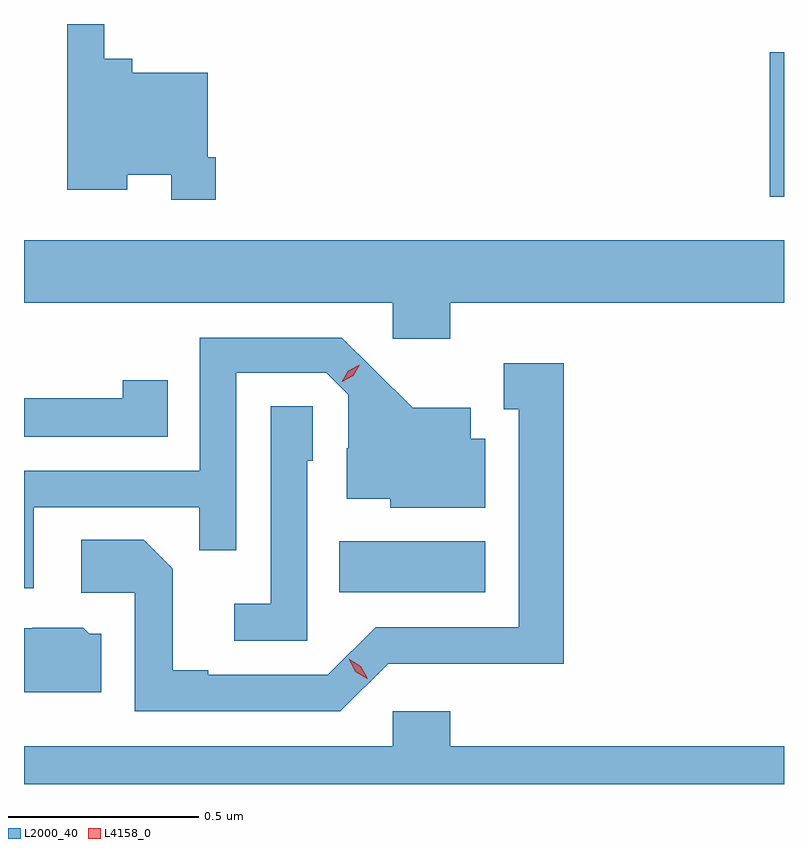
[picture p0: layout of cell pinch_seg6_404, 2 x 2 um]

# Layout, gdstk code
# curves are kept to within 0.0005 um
import gdstk
lib = gdstk.Library(unit=1e-6, precision=1e-09)
def R(c, l, rs):  # rectangles x0, y0, x1, y1
    for r in rs: c.add(gdstk.rectangle(r[:2], r[2:], *l))
def P(c, l, *ps):  # polygons
    for p in ps: c.add(gdstk.Polygon(p, *l))
L2000_40 = (2000, 40)
L4158_0 = (4158, 0)

pinch_seg6_404 = lib.new_cell('pinch_seg6_404')
R(pinch_seg6_404, L2000_40, [(671.5,934.586,671.884,934.72), (672.632,935.627,672.67,936.007)])
P(pinch_seg6_404, L2000_40, [(671.174,935.731),(671.154,935.731),(671.154,935.953),(670.955,935.953),(670.955,935.989),(670.881,935.989),(670.881,936.081),(670.784,936.081),(670.784,935.645),(670.942,935.645),(670.942,935.684),(671.058,935.684),(671.058,935.619),(671.174,935.619)],
  [(671.792,935.348),(672.67,935.348),(672.67,935.512),(670.67,935.512),(670.67,935.348),(671.64,935.348),(671.64,935.253),(671.792,935.253)],
  [(670.695,934.809),(671.131,934.809),(671.131,934.696),(671.229,934.696),(671.229,935.163),(671.466,935.163),(671.523,935.106),(671.523,934.964),(671.519,934.964),(671.519,934.832),(671.634,934.832),(671.634,934.808),(671.884,934.808),(671.884,934.99),(671.845,934.99),(671.845,935.071),(671.693,935.071),(671.506,935.256),(671.133,935.256),(671.133,934.905),(670.67,934.905),(670.67,934.596),(670.695,934.596)],
  [(671.628,934.398),(671.85,934.398),(671.85,934.397),(672.091,934.397),(672.091,935.188),(671.933,935.188),(671.933,935.067),(671.972,935.067),(671.972,934.494),(671.595,934.494),(671.469,934.368),(671.155,934.368),(671.155,934.381),(671.061,934.381),(671.061,934.648),(670.985,934.724),(670.821,934.724),(670.821,934.584),(670.962,934.584),(670.962,934.272),(671.502,934.272)],
  [(671.048,935.143),(670.93,935.143),(670.93,935.096),(670.67,935.096),(670.67,934.995),(671.048,934.995)],
  [(671.415,934.932),(671.43,934.932),(671.43,935.075),(671.319,935.075),(671.319,934.555),(671.223,934.555),(671.223,934.458),(671.415,934.458)],
  [(670.873,934.476),(670.842,934.476),(670.826,934.492),(670.692,934.492),(670.692,934.491),(670.67,934.491),(670.67,934.322),(670.873,934.322)],
  [(672.67,934.18),(671.792,934.18),(671.792,934.273),(671.64,934.273),(671.64,934.18),(670.67,934.18),(670.67,934.081),(672.67,934.081)])
P(pinch_seg6_404, L4158_0, [(671.573,934.358),(671.542,934.377),(671.524,934.41),(671.524,934.41),(671.524,934.41),(671.556,934.391),(671.574,934.358),(671.574,934.358)],
  [(671.506,935.139),(671.506,935.14),(671.523,935.169),(671.554,935.184),(671.554,935.184),(671.554,935.184),(671.537,935.155),(671.507,935.139)])

lib.write_gds('pinch_seg6_404.gds')
